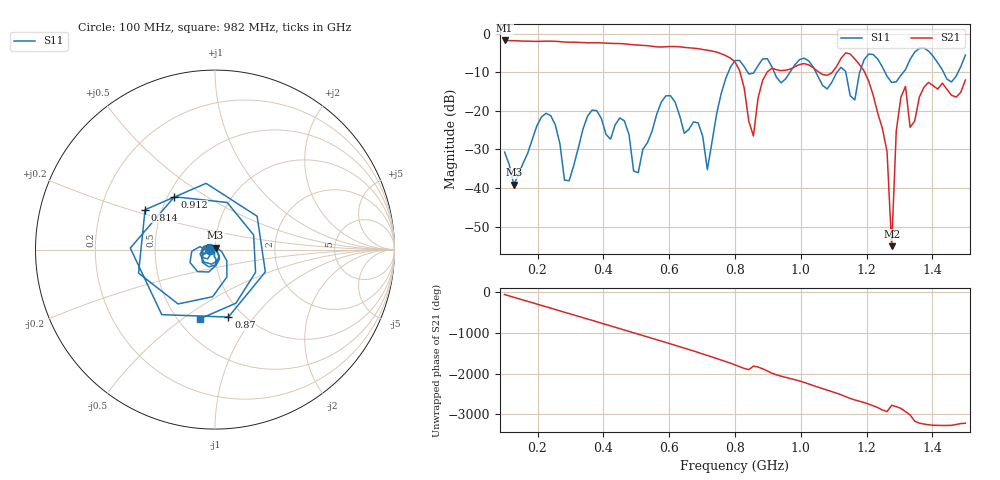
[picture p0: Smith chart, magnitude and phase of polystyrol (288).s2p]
! NanoVNA-App
! Date: 2025-09-25 15:32:08
! Start: 100MHz Stop: 1,5GHz Points: 101
! S-Parameter data: F S11 S21 S12 S22
# Hz S RI R 50
!  Frequency  S11_Real  S11_Imag  S21_Real  S21_Imag  S12_Real  S12_Imag  S22_Real  S22_Imag
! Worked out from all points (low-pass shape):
!   101 points, 100 MHz to 1.5 GHz, reference 50 ohm
!   highest |S21| = -1.80 dB at 100 MHz (marker M1); lowest = -55.1 dB at 1.276 GHz (marker M2)
!   |S21| within 3 dB of the highest: start of sweep to 743.2 MHz
!   lowest |S11| = -39.1 dB at 128 MHz (marker M3), VSWR 1.02, Z = 50.3 + j1.06 ohm
!   |S11| at or under -10 dB: start of sweep to 779.8 MHz; 1.046 GHz to 1.11 GHz (64.74 MHz wide, 6.01 % of centre); 1.256 GHz to 1.312 GHz (56.07 MHz wide, 4.37 % of centre) (the widest 3 of 7)
!   S12 and S22 are empty: the file has one direction only
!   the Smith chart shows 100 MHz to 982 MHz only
!   S11 on the Smith chart (normalised r, x): 100 MHz: 0.94, -0.01; 814 MHz: 0.40, +0.22; 870 MHz: 0.86, -0.75; 912 MHz: 0.54, +0.37; 982 MHz: 0.64, -0.58
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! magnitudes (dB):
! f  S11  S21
! 100 MHz  -30.7  -1.8
! 128 MHz  -39.1  -1.9
! 212 MHz  -21.6  -2.0
! 282 MHz  -38.0  -2.2
! 338 MHz  -24.8  -2.3
! 506 MHz  -36.0  -3.0
! 576 MHz  -17.8  -3.5
! 716 MHz  -35.2  -4.3
! 800 MHz  -7.0  -7.4
! 814 MHz  -7.0  -9.6
! 856 MHz  -10.3  -26.5
! 870 MHz  -8.3  -16.7
! 912 MHz  -8.6  -9.0
! 982 MHz  -8.1  -8.6
! 1.038 GHz  -8.7  -8.9
! 1.164 GHz  -17.2  -6.6
! 1.206 GHz  -5.3  -12.3
! 1.262 GHz  -11.1  -30.6
! 1.276 GHz  -12.7  -55.1
! 1.29 GHz  -12.5  -25.2
! 1.318 GHz  -9.4  -13.7
! 1.5 GHz  -5.6  -12.0
